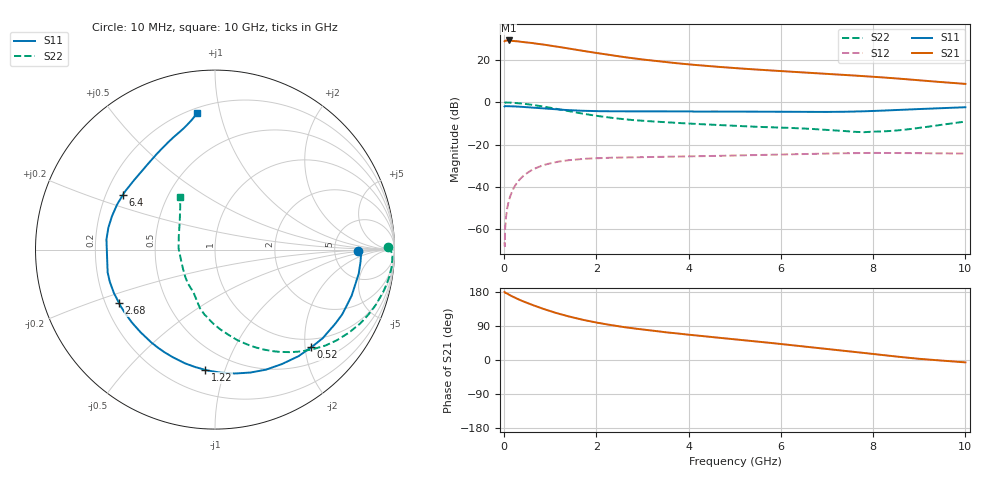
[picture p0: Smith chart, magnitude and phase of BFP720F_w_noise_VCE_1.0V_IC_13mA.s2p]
! Infineon Technologies  Discrete & RF Semiconductors
! BFP720F
! VCE =  1.0 V,  IC =  13 mA
! Common Emitter S-Parameters:  Jan 2016
# GHz  S  MA  R  50
!  f  S11  S21  S12  S22
! GHz  MAG  ANG  MAG  ANG  MAG  ANG  MAG  ANG
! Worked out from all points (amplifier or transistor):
!   233 points, 10 MHz to 10 GHz, reference 50 ohm
!   highest |S21| = 29.2 dB at 100 MHz (marker M1)
!   |S21| within 3 dB of that: start of sweep to 1.167 GHz
!   unconditionally stable (mu >= 1): start of sweep to 15.04 MHz; 6.438 GHz to end of sweep
!   at 200 MHz: K = 0.07, MSG = 34.9 dB, |S12| = -40.8 dB
!   at 1.74 GHz: K = 0.36, MSG = 25.4 dB, |S12| = -26.7 dB
!   at 10 GHz: K = 1.32, MAG = 13.1 dB, |S12| = -24.2 dB
!   lowest NFmin = 0.64 dB at 450 MHz
!   S11 on the Smith chart (normalised r, x): 10 MHz: 8.90, -0.41; 520 MHz: 0.81, -2.12; 1.22 GHz: 0.35, -0.86; 2.68 GHz: 0.26, -0.25; 6.4 GHz: 0.27, +0.26; 10 GHz: 0.23, +0.85
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0.01  0.7983 -0.6  27.89 179.4  0.0005 -42.0  0.9654 1.0
0.02  0.8141 -1.8  28.61 177.5  0.001 95.4  0.9891 -1.4
0.05  0.8136 -4.9  28.87 176.4  0.0023 83.7  0.9893 -2.6
0.1  0.812 -9.5  28.97 172.8  0.0047 85.5  0.9893 -5.5
0.2  0.8035 -18.6  28.16 166.3  0.0091 80.5  0.9756 -11.2
0.3  0.7951 -27.1  27.55 160.7  0.0135 76.1  0.9551 -16.7
0.52  0.7632 -45.5  25.71 149.7  0.0222 66.6  0.9007 -28.0
0.6  0.7547 -51.8  25.25 145.9  0.0252 63.4  0.8768 -32.0
0.8  0.7267 -67.0  23.65 137.0  0.0313 56.0  0.814 -41.1
1  0.699 -81.0  21.88 128.8  0.0363 49.3  0.7454 -49.5
1.22  0.672 -94.7  20.11 121.0  0.0404 43.1  0.6742 -57.7
1.48  0.6471 -109.3  18.1 112.5  0.044 36.9  0.5976 -66.5
1.68  0.6332 -119.2  16.68 106.8  0.0459 33.0  0.5464 -72.6
2.2  0.616 -138.6  13.57 94.5  0.0488 25.3  0.4487 -85.7
2.68  0.6121 -150.7  11.42 85.5  0.05 20.8  0.3916 -94.5
3.4  0.6123 -161.7  9.184 74.8  0.0515 16.9  0.344 -103.1
4  0.6115 -168.0  7.884 66.7  0.0527 14.7  0.315 -107.5
5.1  0.6054 167.1  6.334 53.4  0.0558 11.5  0.276 -114.5
6.4  0.597 149.1  5.163 37.1  0.0601 7.1  0.2438 -127.2
6.8  0.5939 142.6  4.857 31.9  0.0612 5.5  0.2307 -133.8
8.4  0.652 113.7  3.746 10.5  0.0637 -2.3  0.2117 162.7
10  0.7664 97.5  2.727 -6.3  0.0617 -6.8  0.351 123.7
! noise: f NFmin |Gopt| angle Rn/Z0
0.45  0.64  0.27  2  0.64
0.9  0.67  0.23  8  0.14
1.8  0.7  0.21  11  0.15
2.4  0.72  0.18  18  0.13
5.5  0.88  0.15  30  0.08
10  1.04  0.3  -88  0.19
